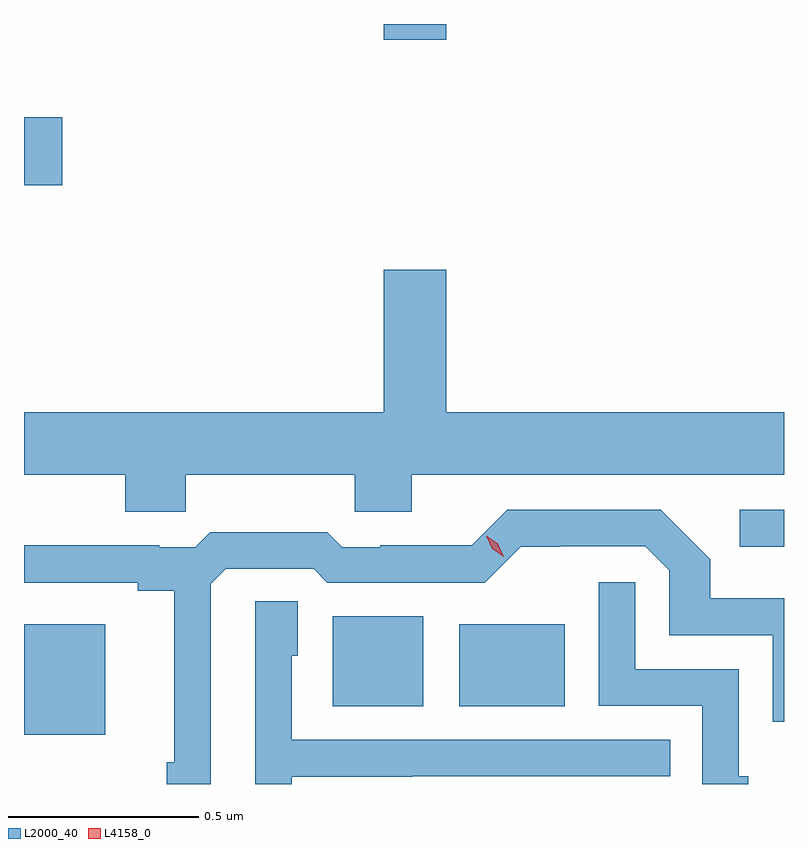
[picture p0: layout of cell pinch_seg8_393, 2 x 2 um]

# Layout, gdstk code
import gdstk
lib = gdstk.Library(unit=1e-6, precision=1e-09)
def R(c, l, rs):  # rectangles x0, y0, x1, y1
    for r in rs: c.add(gdstk.rectangle(r[:2], r[2:], *l))
def P(c, l, *ps):  # polygons
    for p in ps: c.add(gdstk.Polygon(p, *l))
L2000_40 = (2000, 40)
L4158_0 = (4158, 0)

pinch_seg8_393 = lib.new_cell('pinch_seg8_393')
R(pinch_seg8_393, L2000_40, [(451.773,1097.168,451.987,1097.458), (452.585,1097.243,452.824,1097.479), (452.918,1097.243,453.196,1097.458), (453.657,1097.663,453.773,1097.76), (451.773,1098.614,451.873,1098.792), (452.72,1098.996,452.884,1099.038)])
P(pinch_seg8_393, L2000_40, [(452.199,1097.852),(452.644,1097.852),(452.644,1097.754),(452.794,1097.754),(452.794,1097.852),(453.773,1097.852),(453.773,1098.016),(452.884,1098.016),(452.884,1098.391),(452.72,1098.391),(452.72,1098.016),(451.773,1098.016),(451.773,1097.852),(452.039,1097.852),(452.039,1097.754),(452.199,1097.754)],
  [(452.265,1097.565),(452.304,1097.604),(452.535,1097.604),(452.571,1097.568),(452.985,1097.568),(453.08,1097.663),(453.184,1097.663),(453.184,1097.664),(453.408,1097.664),(453.471,1097.601),(453.471,1097.43),(453.744,1097.43),(453.744,1097.202),(453.773,1097.202),(453.773,1097.527),(453.579,1097.527),(453.579,1097.63),(453.448,1097.76),(453.045,1097.76),(452.951,1097.666),(452.71,1097.666),(452.71,1097.661),(452.61,1097.661),(452.571,1097.701),(452.263,1097.701),(452.223,1097.661),(452.129,1097.661),(452.129,1097.666),(451.773,1097.666),(451.773,1097.568),(452.072,1097.568),(452.072,1097.546),(452.168,1097.546),(452.168,1097.095),(452.149,1097.095),(452.149,1097.038),(452.265,1097.038)],
  [(453.679,1097.058),(453.654,1097.058),(453.654,1097.34),(453.381,1097.34),(453.381,1097.569),(453.285,1097.569),(453.285,1097.244),(453.558,1097.244),(453.558,1097.038),(453.679,1097.038)],
  [(452.478,1097.057),(452.795,1097.057),(452.795,1097.058),(453.473,1097.058),(453.473,1097.154),(452.478,1097.154),(452.478,1097.376),(452.494,1097.376),(452.494,1097.519),(452.382,1097.519),(452.382,1097.038),(452.478,1097.038)])
P(pinch_seg8_393, L4158_0, [(453.036,1097.636),(453.005,1097.657),(452.989,1097.691),(452.989,1097.691),(452.989,1097.691),(453.02,1097.67),(453.036,1097.636),(453.036,1097.636)])

lib.write_gds('pinch_seg8_393.gds')
